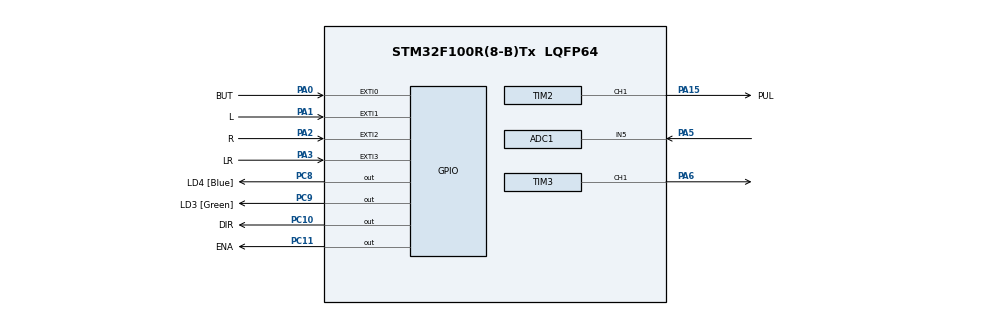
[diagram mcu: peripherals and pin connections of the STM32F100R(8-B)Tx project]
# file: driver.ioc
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ADC1.Channel-4\#ChannelRegularConversion=ADC_CHANNEL_5
ADC1.ContinuousConvMode=ENABLE
ADC1.EnableInjectedConversion=DISABLE
ADC1.EnableRegularConversion=ENABLE
ADC1.InjNumberOfConversion=1
ADC1.NbrOfConversionFlag=1
ADC1.Rank-4\#ChannelRegularConversion=1
ADC1.SamplingTime-4\#ChannelRegularConversion=ADC_SAMPLETIME_1CYCLE_5
ADC1.master=1
Mcu.Family=STM32F1
Mcu.Name=STM32F100R(8-B)Tx
Mcu.Package=LQFP64
NVIC.EXTI0_IRQn=true\:0\:0\:false\:false\:true\:true\:true\:true
NVIC.EXTI1_IRQn=true\:0\:0\:false\:false\:true\:true\:true\:true
NVIC.EXTI2_IRQn=true\:0\:0\:false\:false\:true\:true\:true\:true
NVIC.EXTI3_IRQn=true\:0\:0\:false\:false\:true\:true\:true\:true
NVIC.PriorityGroup=NVIC_PRIORITYGROUP_4
NVIC.TIM2_IRQn=true\:0\:0\:false\:false\:true\:true\:true\:true
NVIC.TIM3_IRQn=true\:0\:0\:false\:false\:true\:true\:true\:true
PA0-WKUP.GPIO_Label=BUT
PA0-WKUP.GPIO_PuPd=GPIO_PULLDOWN
PA0-WKUP.Signal=GPXTI0
PA1.GPIO_Label=L
PA1.GPIO_ModeDefaultEXTI=GPIO_MODE_IT_FALLING
PA1.GPIO_PuPd=GPIO_PULLUP
PA1.Signal=GPXTI1
PA13.GPIO_Label=TMS_SWDIO
PA13.Mode=Serial_Wire
PA13.Signal=SYS_JTMS-SWDIO
PA14.GPIO_Label=TCK_SWCLK
PA14.Mode=Serial_Wire
PA14.Signal=SYS_JTCK-SWCLK
PA15.GPIO_Label=PUL
PA15.GPIO_Speed=GPIO_SPEED_FREQ_HIGH
PA15.Signal=S_TIM2_CH1_ETR
PA2.GPIO_Label=R
PA2.GPIO_ModeDefaultEXTI=GPIO_MODE_IT_FALLING
PA2.GPIO_PuPd=GPIO_PULLUP
PA2.Signal=GPXTI2
PA3.GPIO_Label=LR
PA3.GPIO_ModeDefaultEXTI=GPIO_MODE_IT_FALLING
PA3.GPIO_PuPd=GPIO_PULLUP
PA3.Signal=GPXTI3
PA5.Signal=ADCx_IN5
PA6.GPIO_Speed=GPIO_SPEED_FREQ_HIGH
PA6.Signal=S_TIM3_CH1
PC10.GPIO_Label=DIR
PC10.GPIO_Speed=GPIO_SPEED_FREQ_HIGH
PC10.Signal=GPIO_Output
PC11.GPIO_Label=ENA
PC11.GPIO_Speed=GPIO_SPEED_FREQ_HIGH
PC11.Signal=GPIO_Output
PC14-OSC32_IN.Mode=LSE-External-Oscillator
PC14-OSC32_IN.Signal=RCC_OSC32_IN
PC15-OSC32_OUT.Mode=LSE-External-Oscillator
PC15-OSC32_OUT.Signal=RCC_OSC32_OUT
PC8.GPIO_Label=LD4 [Blue]
PC8.Signal=GPIO_Output
PC9.GPIO_Label=LD3 [Green]
PC9.Signal=GPIO_Output
PD0-OSC_IN.Mode=HSE-External-Oscillator
PD0-OSC_IN.Signal=RCC_OSC_IN
PD1-OSC_OUT.Mode=HSE-External-Oscillator
PD1-OSC_OUT.Signal=RCC_OSC_OUT
ProjectManager.HeapSize=0x200
ProjectManager.StackSize=0x400
ProjectManager.TargetToolchain=MDK-ARM V5.32
RCC.APB1Freq_Value=8000000
RCC.APB2Freq_Value=8000000
SH.ADCx_IN5.0=ADC1_IN5,IN5
SH.S_TIM2_CH1_ETR.0=TIM2_CH1,PWM Generation1 CH1
SH.S_TIM3_CH1.0=TIM3_CH1,PWM Generation1 CH1
TIM2.Channel-PWM\ Generation1\ CH1=TIM_CHANNEL_1
TIM2.OCFastMode_PWM-PWM\ Generation1\ CH1=TIM_OCFAST_ENABLE
TIM2.Period=15999
TIM2.Pulse-PWM\ Generation1\ CH1=7999
TIM3.Channel-PWM\ Generation1\ CH1=TIM_CHANNEL_1
TIM3.OCFastMode_PWM-PWM\ Generation1\ CH1=TIM_OCFAST_ENABLE
TIM3.Period=15999
TIM3.Pulse-PWM\ Generation1\ CH1=7999
VP_TIM2_VS_ClockSourceINT.Mode=Internal
board=STM32VLDISCOVERY

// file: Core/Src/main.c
/* USER CODE BEGIN Header */
/**
  ******************************************************************************
  * @file           : main.c
  * @brief          : Main program body
  ******************************************************************************
  * @attention
  *
  * Copyright (c) 2024 STMicroelectronics.
  * All rights reserved.
  *
  * This software is licensed under terms that can be found in the LICENSE file
  * in the root directory of this software component.
  * If no LICENSE file comes with this software, it is provided AS-IS.
  *
  ******************************************************************************
  */
/* USER CODE END Header */
#include "main.h"
#include "adc.h"
#include "tim.h"
#include "gpio.h"

/* USER CODE BEGIN PV */
uint32_t i = 0;
uint32_t sum = 0;
uint32_t t = 0;
uint32_t g = 0;
uint16_t k = 40;
uint16_t x = 0;
uint8_t direction = 0;
uint32_t delayDIR0 = 10U; //delayDIR<delayIRQn!!!!
uint32_t delayIRQn0 = 20U;
//delayDIR<delayIRQn!!!!
uint32_t delayIRQn = 20U;
uint16_t IRQn_PIN = BUT_Pin;
GPIO_TypeDef* IRQn_PIN_Port = BUT_GPIO_Port;
uint16_t IRQn_PIN_IDLE_POLARITY = 0;
/* USER CODE END PV */

void SystemClock_Config(void);

int main(void)
{

  /* MCU Configuration--------------------------------------------------------*/

  /* Reset of all peripherals, Initializes the Flash interface and the Systick. */
  HAL_Init();

  /* Configure the system clock */
  SystemClock_Config();

  /* Initialize all configured peripherals */
  MX_GPIO_Init();
  MX_TIM2_Init();
  MX_ADC1_Init();
  MX_TIM3_Init();
  /* USER CODE BEGIN 2 */

	TIM2->CR1&=~TIM_CR1_UDIS;

	LD4_GPIO_Port->ODR|=LD4_Pin;
	LD3_GPIO_Port->ODR&=~LD3_Pin;
	direction=0;
	//DIR_GPIO_Port->ODR&=~DIR_Pin;
	ENA_GPIO_Port->ODR|=ENA_Pin;

	HAL_Delay(1000);

	EXTI->IMR|=EXTI_IMR_IM0; //warning! what if interrupt at start because of gpio hal set
	HAL_NVIC_EnableIRQ(EXTI0_IRQn); //warning! what if interrupt at start because of gpio hal set
	EXTI->IMR|=EXTI_IMR_IM1; //warning! what if interrupt at start because of gpio hal set
	HAL_NVIC_EnableIRQ(EXTI1_IRQn); //warning! what if interrupt at start because of gpio hal set
	EXTI->IMR|=EXTI_IMR_IM2; //warning! what if interrupt at start because of gpio hal set
	HAL_NVIC_EnableIRQ(EXTI2_IRQn); //warning! what if interrupt at start because of gpio hal set
	EXTI->IMR|=EXTI_IMR_IM3; //warning! what if interrupt at start because of gpio hal set
	HAL_NVIC_EnableIRQ(EXTI3_IRQn); //warning! what if interrupt at start because of gpio hal set

	HAL_Delay(1000);

	  //ADC calibration
  HAL_ADC_Stop(&hadc1);
  HAL_ADCEx_Calibration_Start(&hadc1);
  HAL_ADC_Start(&hadc1);

	//TIM3->CR1|=TIM_CR1_CEN; //counter enable
	//TIM3->CCER|=TIM_CCER_CC1E;
  /* USER CODE END 2 */

  /* Infinite loop */
  while (1)
  {

    /* USER CODE BEGIN 3 */
		if((EXTI->IMR)&(EXTI_IMR_IM0|EXTI_IMR_IM1|EXTI_IMR_IM2|EXTI_IMR_IM3)){

		if(i >= 20){

		x = sum/20;
		k = x/8+1;
		delayDIR0 = 2+200/k; //delayDIR<delayIRQn!!!!
		delayIRQn0 = 4+400/k;
		delayIRQn = delayIRQn0;
		TIM2->ARR=80*k+250;
		TIM2->CCR1=40*k+125;
		TIM2->EGR|=TIM_EGR_UG;
		sum = 0;
		i = 0;
		}
		else{
			ADC1->CR2|=ADC_CR2_SWSTART;
			sum+= ADC1->DR;
			i++;
			}
		}

		HAL_Delay(10);
  }
  /* USER CODE END 3 */
}

void SystemClock_Config(void)
{
  RCC_OscInitTypeDef RCC_OscInitStruct = {0};
  RCC_ClkInitTypeDef RCC_ClkInitStruct = {0};
  RCC_PeriphCLKInitTypeDef PeriphClkInit = {0};

  /** Initializes the RCC Oscillators according to the specified parameters
  * in the RCC_OscInitTypeDef structure.
  */
  RCC_OscInitStruct.OscillatorType = RCC_OSCILLATORTYPE_HSI;
  RCC_OscInitStruct.HSIState = RCC_HSI_ON;
  RCC_OscInitStruct.HSICalibrationValue = RCC_HSICALIBRATION_DEFAULT;
  RCC_OscInitStruct.PLL.PLLState = RCC_PLL_NONE;
  if (HAL_RCC_OscConfig(&RCC_OscInitStruct) != HAL_OK)
  {
    Error_Handler();
  }

  /** Initializes the CPU, AHB and APB buses clocks
  */
  RCC_ClkInitStruct.ClockType = RCC_CLOCKTYPE_HCLK|RCC_CLOCKTYPE_SYSCLK
                              |RCC_CLOCKTYPE_PCLK1|RCC_CLOCKTYPE_PCLK2;
  RCC_ClkInitStruct.SYSCLKSource = RCC_SYSCLKSOURCE_HSI;
  RCC_ClkInitStruct.AHBCLKDivider = RCC_SYSCLK_DIV1;
  RCC_ClkInitStruct.APB1CLKDivider = RCC_HCLK_DIV1;
  RCC_ClkInitStruct.APB2CLKDivider = RCC_HCLK_DIV1;

  if (HAL_RCC_ClockConfig(&RCC_ClkInitStruct, FLASH_LATENCY_0) != HAL_OK)
  {
    Error_Handler();
  }
  PeriphClkInit.PeriphClockSelection = RCC_PERIPHCLK_ADC;
  PeriphClkInit.AdcClockSelection = RCC_ADCPCLK2_DIV2;
  if (HAL_RCCEx_PeriphCLKConfig(&PeriphClkInit) != HAL_OK)
  {
    Error_Handler();
  }
}

/* USER CODE BEGIN 4 */
void HAL_GPIO_EXTI_Callback(uint16_t GPIO_Pin){

	TIM2->CCER&=~TIM_CCER_CC1E; //pwm disable output

	HAL_NVIC_DisableIRQ(EXTI0_IRQn);
	EXTI->IMR&=~EXTI_IMR_IM0;
	HAL_NVIC_DisableIRQ(EXTI1_IRQn);
	EXTI->IMR&=~EXTI_IMR_IM1;
	HAL_NVIC_DisableIRQ(EXTI2_IRQn);
	EXTI->IMR&=~EXTI_IMR_IM2;
	HAL_NVIC_DisableIRQ(EXTI3_IRQn);
	EXTI->IMR&=~EXTI_IMR_IM3;

	switch(GPIO_Pin){

		case BUT_Pin:

			//for BUT_Pin
			EXTI->PR|=EXTI_PR_PR0;   //clear interrupt pending
			//

			if(direction==1){
			LD4_GPIO_Port->ODR|=LD4_Pin;
			LD3_GPIO_Port->ODR&=~LD3_Pin;
			DIR_GPIO_Port->ODR&=~DIR_Pin;
			direction=0;
			}
			else{
			LD3_GPIO_Port->ODR|=LD3_Pin;
			LD4_GPIO_Port->ODR&=~LD4_Pin;
			DIR_GPIO_Port->ODR|=DIR_Pin;
			direction=1;
			}
			IRQn_PIN = BUT_Pin;
			IRQn_PIN_Port = BUT_GPIO_Port;
			IRQn_PIN_IDLE_POLARITY = 0U;

			TIM2->DIER|=TIM_DIER_UIE; //update interrupt enable
			//TIM2->CR1&=~TIM_CR1_UDIS; //update ev.gen enable
			TIM2->CR1|=TIM_CR1_CEN; //counter enable
			break;

		case L_Pin:

			//for L_Pin
			EXTI->PR|=EXTI_PR_PR1;
			//
			LD4_GPIO_Port->ODR|=LD4_Pin;
			LD3_GPIO_Port->ODR&=~LD3_Pin;
			direction=0;
			DIR_GPIO_Port->ODR&=~DIR_Pin;

			IRQn_PIN = L_Pin;
			IRQn_PIN_Port = L_GPIO_Port;
			IRQn_PIN_IDLE_POLARITY = L_Pin;

			TIM2->DIER|=TIM_DIER_UIE; //update interrupt enable
			//TIM2->CR1&=~TIM_CR1_UDIS; //update ev.gen enable
			TIM2->CR1|=TIM_CR1_CEN; //counter enable
			break;

		case R_Pin:

			//for R_Pin
			EXTI->PR|=EXTI_PR_PR2;
			//
			LD3_GPIO_Port->ODR|=LD3_Pin;
			LD4_GPIO_Port->ODR&=~LD4_Pin;
			direction=1;
			DIR_GPIO_Port->ODR|=DIR_Pin;

			IRQn_PIN = R_Pin;
			IRQn_PIN_Port = R_GPIO_Port;
			IRQn_PIN_IDLE_POLARITY = R_Pin;

			TIM2->DIER|=TIM_DIER_UIE; //update interrupt enable
			//TIM2->CR1&=~TIM_CR1_UDIS; //update ev.gen enable
			TIM2->CR1|=TIM_CR1_CEN; //counter enable
			break;

		case LR_Pin:

			//for BUT_Pin
			EXTI->PR|=EXTI_PR_PR3;   //clear interrupt pending
			//

			if(direction==1){
			LD4_GPIO_Port->ODR|=LD4_Pin;
			LD3_GPIO_Port->ODR&=~LD3_Pin;
			DIR_GPIO_Port->ODR&=~DIR_Pin;
			direction=0;
			}
			else{
			LD3_GPIO_Port->ODR|=LD3_Pin;
			LD4_GPIO_Port->ODR&=~LD4_Pin;
			DIR_GPIO_Port->ODR|=DIR_Pin;
			direction=1;
			}
			IRQn_PIN = LR_Pin;
			IRQn_PIN_Port = LR_GPIO_Port;
			IRQn_PIN_IDLE_POLARITY = LR_Pin;

			TIM2->DIER|=TIM_DIER_UIE; //update interrupt enable
			//TIM2->CR1&=~TIM_CR1_UDIS; //update ev.gen enable
			TIM2->CR1|=TIM_CR1_CEN; //counter enable
			break;
	}
}

void HAL_TIM_PeriodElapsedCallback(TIM_HandleTypeDef *htim){

	if(IRQn_PIN_IDLE_POLARITY == ((IRQn_PIN_Port->IDR) & IRQn_PIN)){
			t++;
	}

	if(g>=delayDIR0){
		TIM2->CCER|=TIM_CCER_CC1E; //pwm enable output
	}else{
			g++;
	}

	if(t>=delayIRQn){
			if(IRQn_PIN_IDLE_POLARITY ^ ((IRQn_PIN_Port->IDR) & IRQn_PIN)){
				delayIRQn+=delayIRQn0;
			}
			else{
			t=0;
			g=0;
			delayIRQn=delayIRQn0;
			TIM2->DIER&=~TIM_DIER_UIE; //update interrupt disable
			//TIM2->CR1|=TIM_CR1_UDIS; //update ev.gen disable
					EXTI->IMR|=EXTI_IMR_IM0;
					HAL_NVIC_EnableIRQ(EXTI0_IRQn);
					EXTI->IMR|=EXTI_IMR_IM1;
					HAL_NVIC_EnableIRQ(EXTI1_IRQn);
					EXTI->IMR|=EXTI_IMR_IM2;
					HAL_NVIC_EnableIRQ(EXTI2_IRQn);
					EXTI->IMR|=EXTI_IMR_IM3;
					HAL_NVIC_EnableIRQ(EXTI3_IRQn);
			}
		}
	__HAL_TIM_CLEAR_IT(htim,TIM2_IRQn);
}
/* USER CODE END 4 */

void Error_Handler(void)
{
  __disable_irq();
  while (1)
  {
  }
}
